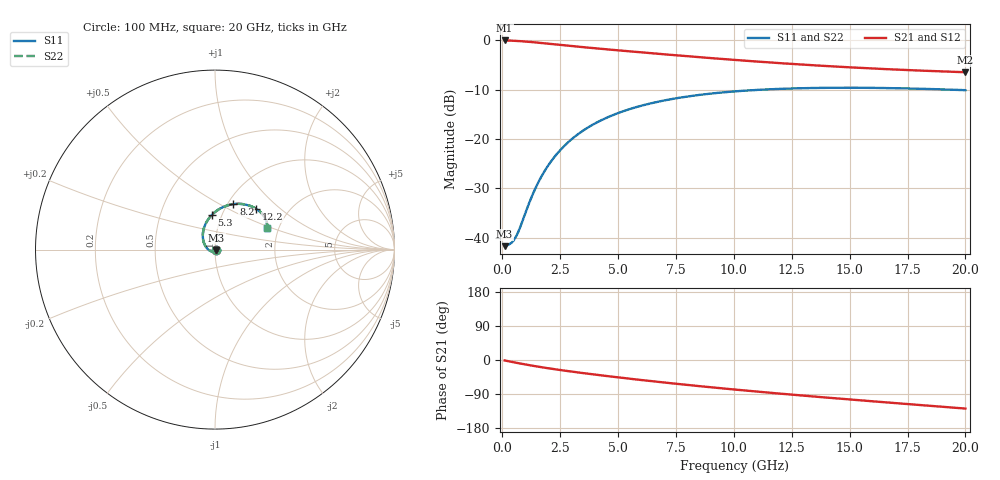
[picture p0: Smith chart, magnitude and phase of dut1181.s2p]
! Touchstone file exported from HFSS 2024.1.0
!  File:  C:/UserFiles/LocalFiles/RDL_TSV_Batchsim/temp_RDL_TSV_1181_1780125753.aedt
!  Generated:  03:36:31 PM May 30, 2026
!  Design:  RDL_TSV
!  Project:  temp_RDL_TSV_1181_1780125753
!  Setup:  Setup1
!  Solution:  Sweep
! Variables:
!  dtsv = 11.29um
!  hbump = 3um
!  htsv = 66.5um
!  ldown = 355.21um
!  lrdl = 145.11um
!  p = 40
!  p1 = 48.57um
!  rhole = 10um
!  subl = 1646.07um
!  t = 450um
!  tdown = 3.82um
!  trdl = 4.79um
!  viad = 10um
!  wdown = 18.86um
!  wrdl = 19.14um
!  xbump = 18um
# GHz S MA R 50.000000
! Terminal data exported
! Port[1] = TM1_1_T1
! Port[2] = TM1_4_T1
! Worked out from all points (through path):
!   200 points, 100 MHz to 20 GHz, reference 50 ohm
!   highest |S21| = -0.08 dB at 100 MHz (marker M1); lowest = -6.5 dB at 20 GHz (marker M2)
!   group delay of S21, straight-line fit = 16.8 ps
!   lowest |S11| = -41.7 dB at 100 MHz (marker M3), VSWR 1.02, Z = 50.8 - j0.179 ohm
!   |S11| at or under -10 dB: start of sweep to 11.31 GHz; 19.21 GHz to end of sweep
!   |S22| runs from -41.7 to -9.6 dB; largest |S21 - S12| = 1.2e-13
!   S11 on the Smith chart (normalised r, x): 100 MHz: 1.02, -0.00; 5.3 GHz: 0.90, +0.36; 8.2 GHz: 1.06, +0.58; 12.2 GHz: 1.39, +0.70; 20 GHz: 1.73, +0.45
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0.1  0.008247 -12.4  0.9914 -1.2  0.9914 -1.2  0.008247 -12.4
! Gamma 0 0 0 0
! Port Impedance 50 0 50 0
0.4  0.008929 -56.4  0.9866 -4.9  0.9866 -4.9  0.008927 -56.4
0.5  0.00948 -72.8  0.9842 -6.1  0.9842 -6.1  0.009478 -72.8
0.6  0.01036 -89.0  0.9813 -7.3  0.9813 -7.3  0.01036 -89.1
0.7  0.01165 -104.3  0.9782 -8.4  0.9782 -8.4  0.01165 -104.3
1.2  0.02376 -157.4  0.9582 -14.0  0.9582 -14.0  0.02377 -157.5
1.4  0.03059 -170.7  0.9489 -16.1  0.9489 -16.1  0.03061 -170.8
1.7  0.04215 173.7  0.934 -19.1  0.934 -19.1  0.04219 173.7
2  0.05479 161.5  0.9189 -22.0  0.9189 -22.0  0.05484 161.5
2.3  0.06805 151.4  0.9038 -24.7  0.9038 -24.7  0.06812 151.4
2.7  0.08616 140.1  0.8842 -28.2  0.8842 -28.2  0.08625 140.1
3.1  0.1043 130.6  0.8655 -31.5  0.8655 -31.5  0.1044 130.6
3.5  0.1221 122.5  0.8477 -34.6  0.8477 -34.6  0.1222 122.4
4.3  0.1558 108.8  0.8146 -40.7  0.8146 -40.7  0.156 108.8
5.3  0.1936 95.3  0.7765 -48.0  0.7765 -48.0  0.1938 95.3
6.8  0.2401 79.5  0.7246 -58.2  0.7246 -58.2  0.2404 79.5
8.2  0.273 68.0  0.6808 -67.1  0.6808 -67.1  0.2734 68.0
10.1  0.3037 55.5  0.6285 -78.3  0.6285 -78.3  0.3041 55.5
12.2  0.3225 44.7  0.5803 -89.8  0.5803 -89.8  0.3231 44.8
13.4  0.3278 39.7  0.557 -96.1  0.557 -96.1  0.3284 39.7
16.7  0.327 29.0  0.507 -112.4  0.507 -112.4  0.3278 29.0
20  0.3117 22.3  0.4733 -128.2  0.4733 -128.2  0.3125 22.4
